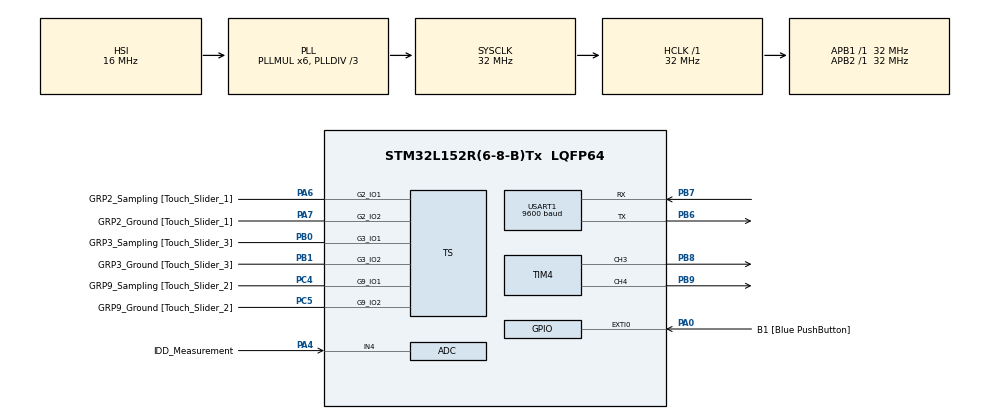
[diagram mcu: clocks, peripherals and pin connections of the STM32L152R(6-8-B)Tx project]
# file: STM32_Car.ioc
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ADC.Channel=ADC_CHANNEL_4
ADC.Channel-0\#ChannelRegularConversion=ADC_CHANNEL_4
ADC.Channel-IN4=ADC_CHANNEL_4
ADC.ExternalTrigConv=ADC_EXTERNALTRIGCONV_T2_CC3
ADC.ExternalTrigConv-0\#ChannelRegularConversion=ADC_SOFTWARE_START
ADC.ExternalTrigConvEdge=ADC_EXTERNALTRIGCONVEDGE_RISING
ADC.Rank-0\#ChannelRegularConversion=1
ADC.SamplingTime-0\#ChannelRegularConversion=ADC_SAMPLETIME_4CYCLES
Mcu.Family=STM32L1
Mcu.Name=STM32L152R(6-8-B)Tx
Mcu.Package=LQFP64
NVIC.PriorityGroup=NVIC_PRIORITYGROUP_0
NVIC.USART1_IRQn=true\:0\:0\:false\:false\:true\:true\:true\:true
PA0-WKUP1.GPIO_Label=B1 [Blue PushButton]
PA0-WKUP1.GPIO_ModeDefaultEXTI=GPIO_MODE_EVT_RISING
PA0-WKUP1.GPIO_PuPd=GPIO_NOPULL
PA0-WKUP1.Signal=GPXTI0
PA1.GPIO_Label=SEG0 [GH08172T_SEG0]
PA1.GPIO_Mode=GPIO_MODE_AF_PP
PA1.GPIO_PuPd=GPIO_NOPULL
PA1.GPIO_Speed=GPIO_SPEED_FREQ_LOW
PA1.Signal=LCD_SEG0
PA10.GPIO_Label=COM2 [GH08172T_COM2]
PA10.GPIO_Mode=GPIO_MODE_AF_PP
PA10.GPIO_PuPd=GPIO_NOPULL
PA10.GPIO_Speed=GPIO_SPEED_FREQ_LOW
PA10.Signal=LCD_COM2
PA13.GPIO_Label=SWDIO
PA13.Mode=Serial_Wire
PA13.Signal=SYS_JTMS-SWDIO
PA14.GPIO_Label=SWCLK
PA14.Mode=Serial_Wire
PA14.Signal=SYS_JTCK-SWCLK
PA15.GPIO_Label=SEG12 [GH08172T_SEG12]
PA15.GPIO_Mode=GPIO_MODE_AF_PP
PA15.GPIO_PuPd=GPIO_NOPULL
PA15.GPIO_Speed=GPIO_SPEED_FREQ_LOW
PA15.Signal=LCD_SEG17
PA2.GPIO_Label=SEG1 [GH08172T_SEG1]
PA2.GPIO_Mode=GPIO_MODE_AF_PP
PA2.GPIO_PuPd=GPIO_NOPULL
PA2.GPIO_Speed=GPIO_SPEED_FREQ_LOW
PA2.Signal=LCD_SEG1
PA3.GPIO_Label=SEG2 [GH08172T_SEG2]
PA3.GPIO_Mode=GPIO_MODE_AF_PP
PA3.GPIO_PuPd=GPIO_NOPULL
PA3.GPIO_Speed=GPIO_SPEED_FREQ_LOW
PA3.Signal=LCD_SEG2
PA4.GPIO_Label=IDD_Measurement
PA4.GPIO_Mode=GPIO_MODE_ANALOG
PA4.GPIO_PuPd=GPIO_NOPULL
PA4.Mode=IN4
PA4.Signal=ADC_IN4
PA6.GPIO_Label=GRP2_Sampling [Touch_Slider_1]
PA6.Mode=G2_IO1-Sampling
PA6.Signal=TS_G2_IO1
PA7.GPIO_Label=GRP2_Ground [Touch_Slider_1]
PA7.Mode=G2_IO2-Channel
PA7.Signal=TS_G2_IO2
PA8.GPIO_Label=COM0 [GH08172T_COM0]
PA8.GPIO_Mode=GPIO_MODE_AF_PP
PA8.GPIO_PuPd=GPIO_NOPULL
PA8.GPIO_Speed=GPIO_SPEED_FREQ_LOW
PA8.Signal=LCD_COM0
PA9.GPIO_Label=COM1 [GH08172T_COM1]
PA9.GPIO_Mode=GPIO_MODE_AF_PP
PA9.GPIO_PuPd=GPIO_NOPULL
PA9.GPIO_Speed=GPIO_SPEED_FREQ_LOW
PA9.Signal=LCD_COM1
PB0.GPIO_Label=GRP3_Sampling [Touch_Slider_3]
PB0.Mode=G3_IO1-Sampling
PB0.Signal=TS_G3_IO1
PB1.GPIO_Label=GRP3_Ground [Touch_Slider_3]
PB1.Mode=G3_IO2-Channel
PB1.Signal=TS_G3_IO2
PB10.GPIO_Label=SEG6 [GH08172T_SEG6]
PB10.GPIO_Mode=GPIO_MODE_AF_PP
PB10.GPIO_PuPd=GPIO_NOPULL
PB10.GPIO_Speed=GPIO_SPEED_FREQ_LOW
PB10.Signal=LCD_SEG10
PB11.GPIO_Label=SEG7 [GH08172T_SEG7]
PB11.GPIO_Mode=GPIO_MODE_AF_PP
PB11.GPIO_PuPd=GPIO_NOPULL
PB11.GPIO_Speed=GPIO_SPEED_FREQ_LOW
PB11.Signal=LCD_SEG11
PB12.GPIO_Label=SEG8 [GH08172T_SEG8]
PB12.GPIO_Mode=GPIO_MODE_AF_PP
PB12.GPIO_PuPd=GPIO_NOPULL
PB12.GPIO_Speed=GPIO_SPEED_FREQ_LOW
PB12.Signal=LCD_SEG12
PB13.GPIO_Label=SEG9 [GH08172T_SEG9]
PB13.GPIO_Mode=GPIO_MODE_AF_PP
PB13.GPIO_PuPd=GPIO_NOPULL
PB13.GPIO_Speed=GPIO_SPEED_FREQ_LOW
PB13.Signal=LCD_SEG13
PB14.GPIO_Label=SEG10 [GH08172T_SEG10]
PB14.GPIO_Mode=GPIO_MODE_AF_PP
PB14.GPIO_PuPd=GPIO_NOPULL
PB14.GPIO_Speed=GPIO_SPEED_FREQ_LOW
PB14.Signal=LCD_SEG14
PB15.GPIO_Label=SEG11 [GH08172T_SEG11]
PB15.GPIO_Mode=GPIO_MODE_AF_PP
PB15.GPIO_PuPd=GPIO_NOPULL
PB15.GPIO_Speed=GPIO_SPEED_FREQ_LOW
PB15.Signal=LCD_SEG15
PB3.GPIO_Label=SEG3 [GH08172T_SEG3]
PB3.GPIO_Mode=GPIO_MODE_AF_PP
PB3.GPIO_PuPd=GPIO_NOPULL
PB3.GPIO_Speed=GPIO_SPEED_FREQ_LOW
PB3.Signal=LCD_SEG7
PB4.GPIO_Label=SEG4 [GH08172T_SEG4]
PB4.GPIO_Mode=GPIO_MODE_AF_PP
PB4.GPIO_PuPd=GPIO_NOPULL
PB4.GPIO_Speed=GPIO_SPEED_FREQ_LOW
PB4.Signal=LCD_SEG8
PB5.GPIO_Label=SEG5 [GH08172T_SEG5]
PB5.GPIO_Mode=GPIO_MODE_AF_PP
PB5.GPIO_PuPd=GPIO_NOPULL
PB5.GPIO_Speed=GPIO_SPEED_FREQ_LOW
PB5.Signal=LCD_SEG9
PB6.Mode=Asynchronous
PB6.Signal=USART1_TX
PB7.Mode=Asynchronous
PB7.Signal=USART1_RX
PB8.Signal=S_TIM4_CH3
PB9.Signal=S_TIM4_CH4
PC0.GPIO_Label=SEG14 [GH08172T_SEG14]
PC0.GPIO_Mode=GPIO_MODE_AF_PP
PC0.GPIO_PuPd=GPIO_NOPULL
PC0.GPIO_Speed=GPIO_SPEED_FREQ_LOW
PC0.Signal=LCD_SEG18
PC1.GPIO_Label=SEG15 [GH08172T_SEG15]
PC1.GPIO_Mode=GPIO_MODE_AF_PP
PC1.GPIO_PuPd=GPIO_NOPULL
PC1.GPIO_Speed=GPIO_SPEED_FREQ_LOW
PC1.Signal=LCD_SEG19
PC10.GPIO_Label=SEG22 [GH08172T_SEG22]
PC10.GPIO_Mode=GPIO_MODE_AF_PP
PC10.GPIO_PuPd=GPIO_NOPULL
PC10.GPIO_Speed=GPIO_SPEED_FREQ_LOW
PC10.Signal=LCD_SEG28
PC11.GPIO_Label=SEG23 [GH08172T_SEG23]
PC11.GPIO_Mode=GPIO_MODE_AF_PP
PC11.GPIO_PuPd=GPIO_NOPULL
PC11.GPIO_Speed=GPIO_SPEED_FREQ_LOW
PC11.Signal=LCD_SEG29
PC14-OSC32_IN.GPIO_Label=PC14-OSC32_IN
PC14-OSC32_IN.Mode=LSE-External-Oscillator
PC14-OSC32_IN.Signal=RCC_OSC32_IN
PC15-OSC32_OUT.GPIO_Label=PC15-OSC32_OUT
PC15-OSC32_OUT.Mode=LSE-External-Oscillator
PC15-OSC32_OUT.Signal=RCC_OSC32_OUT
PC2.GPIO_Label=SEG16 [GH08172T_SEG16]
PC2.GPIO_Mode=GPIO_MODE_AF_PP
PC2.GPIO_PuPd=GPIO_NOPULL
PC2.GPIO_Speed=GPIO_SPEED_FREQ_LOW
PC2.Signal=LCD_SEG20
PC3.GPIO_Label=SEG17 [GH08172T_SEG17]
PC3.GPIO_Mode=GPIO_MODE_AF_PP
PC3.GPIO_PuPd=GPIO_NOPULL
PC3.GPIO_Speed=GPIO_SPEED_FREQ_LOW
PC3.Signal=LCD_SEG21
PC4.GPIO_Label=GRP9_Sampling [Touch_Slider_2]
PC4.Mode=G9_IO1-Sampling
PC4.Signal=TS_G9_IO1
PC5.GPIO_Label=GRP9_Ground [Touch_Slider_2]
PC5.Mode=G9_IO2-Channel
PC5.Signal=TS_G9_IO2
PC6.GPIO_Label=SEG18 [GH08172T_SEG18]
PC6.GPIO_Mode=GPIO_MODE_AF_PP
PC6.GPIO_PuPd=GPIO_NOPULL
PC6.GPIO_Speed=GPIO_SPEED_FREQ_LOW
PC6.Signal=LCD_SEG24
PC7.GPIO_Label=SEG19 [GH08172T_SEG19]
PC7.GPIO_Mode=GPIO_MODE_AF_PP
PC7.GPIO_PuPd=GPIO_NOPULL
PC7.GPIO_Speed=GPIO_SPEED_FREQ_LOW
PC7.Signal=LCD_SEG25
PC8.GPIO_Label=SEG20 [GH08172T_SEG20]
PC8.GPIO_Mode=GPIO_MODE_AF_PP
PC8.GPIO_PuPd=GPIO_NOPULL
PC8.GPIO_Speed=GPIO_SPEED_FREQ_LOW
PC8.Signal=LCD_SEG26
PC9.GPIO_Label=SEG21 [GH08172T_SEG21]
PC9.GPIO_Mode=GPIO_MODE_AF_PP
PC9.GPIO_PuPd=GPIO_NOPULL
PC9.GPIO_Speed=GPIO_SPEED_FREQ_LOW
PC9.Signal=LCD_SEG27
ProjectManager.HeapSize=0x200
ProjectManager.StackSize=0x400
ProjectManager.TargetToolchain=STM32CubeIDE
RCC.48MHZClocksFreq_Value=48000000
RCC.AHBFreq_Value=32000000
RCC.APB1Freq_Value=32000000
RCC.APB1TimFreq_Value=32000000
RCC.APB2Freq_Value=32000000
RCC.APB2TimFreq_Value=32000000
RCC.HCLKFreq_Value=32000000
RCC.HSE_VALUE=8000000
RCC.HSI_VALUE=16000000
RCC.MSI_VALUE=2097000
RCC.PLLDIV=RCC_PLL_DIV3
RCC.PLLMUL=RCC_PLL_MUL6
RCC.RTCClockSelectionVirtual=RCC_RTCCLKSOURCE_LSE
RCC.SYSCLKFreq_VALUE=32000000
RCC.SYSCLKSource=RCC_SYSCLKSOURCE_PLLCLK
RCC.USBOutput=48000000
RCC.VCOOutputFreq_Value=96000000
SH.S_TIM4_CH3.0=TIM4_CH3,PWM Generation3 CH3
SH.S_TIM4_CH4.0=TIM4_CH4,PWM Generation4 CH4
TIM4.Channel-PWM\ Generation3\ CH3=TIM_CHANNEL_3
TIM4.Channel-PWM\ Generation4\ CH4=TIM_CHANNEL_4
USART1.BaudRate=9600
USART1.VirtualMode=VM_ASYNC
VP_TIM2_VS_ClockSourceINT.Mode=Internal
VP_TIM3_VS_ClockSourceINT.Mode=Internal
VP_TIM4_VS_ClockSourceINT.Mode=Internal
board=STM32L-DISCOVERY

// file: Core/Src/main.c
// Bluetooth-controlled and autonomous car project

/* USER CODE BEGIN Header */
/**
 **********
 * @file           : main.c
 * @brief          : Main program body
 **********
 * @attention
 *
 * Copyright (c) 2023 STMicroelectronics.
 * All rights reserved.
 *
 * This software is licensed under terms that can be found in the LICENSE file
 * in the root directory of this software component.
 * If no LICENSE file comes with this software, it is provided AS-IS.
 *
 **********
 */
/* USER CODE END Header */
#include "main.h"

ADC_HandleTypeDef hadc;

TIM_HandleTypeDef htim2;
TIM_HandleTypeDef htim3;
TIM_HandleTypeDef htim4;

UART_HandleTypeDef huart1;

/* USER CODE BEGIN PV */
int GIRO = 600;
unsigned char pulsacion = 0;
unsigned short tiempo_inicio = 0;
unsigned short tiempo = 0;
int estado = 0;
unsigned short tiempo_2 = 6000;
unsigned short tiempo_3 = 50000;
int estado_2 = 0;
int estado_3 = 0;
int limite = 0;
int espera = 0;
short salta = 0;
int vel = 0;
int DCmax = 0;
int DCmin = 0;
int DCmed = 0;
int estado_4 = 6;
int XD = 0;
uint8_t num_received = '1';
uint8_t text_STOP[7] = " STOP";
uint8_t text_FORWARD[10] = " FORWARD";
uint8_t text_LEFT[7] = " LEFT";
uint8_t text_RIGHT[7] = " RIGHT";
uint8_t text_BACK[7] = " BACK";
uint8_t text_AUTO[7] = " AUTO";
/* USER CODE END PV */

void SystemClock_Config(void);
static void MX_GPIO_Init(void);
static void MX_ADC_Init(void);
static void MX_TS_Init(void);
static void MX_USART1_UART_Init(void);
static void MX_TIM2_Init(void);
static void MX_TIM3_Init(void);
static void MX_TIM4_Init(void);

/* USER CODE BEGIN 0 */
void delante() {
	TIM4->CCR3 = DCmax;
	TIM4->CCR4 = DCmax;
	GPIOA->BSRR = (1 << 12 << 16);
	GPIOA->BSRR = (1 << 11 << 16);
}

void atras() {
	TIM4->CCR3 = DCmin;
	TIM4->CCR4 = DCmin;
	GPIOA->BSRR = (1 << 12);
	GPIOA->BSRR = (1 << 11);
}

void giro_derechaA() {
	GPIOA->BSRR = (1 << 11);
	TIM4->CCR4 = 0;
	TIM4->CCR3 = DCmin;
}

void giro_derechaB() {
	GPIOA->BSRR = (1 << 11 << 16);
	TIM4->CCR4 = 0;
	TIM4->CCR3 = DCmax;
}

void giro_izquierdaA() {
	GPIOA->BSRR = (1 << 12);
	TIM4->CCR4 = DCmin;
	TIM4->CCR3 = 0;
}

void giro_izquierdaB() {
	GPIOA->BSRR = (1 << 12 << 16);
	TIM4->CCR4 = DCmax;
	TIM4->CCR3 = 0;
}

void deceleroA() {
	GPIOA->BSRR = (1 << 12 << 16);
	GPIOA->BSRR = (1 << 11 << 16);
	TIM4->CCR3 = DCmin;
	TIM4->CCR4 = DCmin;
}

void parar() {
	GPIOA->BSRR = (1 << 12 << 16);
	GPIOA->BSRR = (1 << 11 << 16);
	TIM4->CCR3 = 0;
	TIM4->CCR4 = 0;
}

void TIM3_IRQHandler(void)       // TIM3 interrupt handler
{
	if ((TIM3->SR & 0x0004) != 0)   // TIM3 channel 2 interrupt
			{

		if (estado_2 == 1) {
			estado_2 = 0;

			TIM3->CCR2 += tiempo_2;
		} else {
			estado_2 = 1;
			TIM3->CCR2 += 1;
		} // This timer sends a 10 us ultrasonic trigger pulse, then waits
		  // 60 ms before sending the next pulse.
		TIM3->SR = 0x0000;         // Clear the timer flags
	}
	if ((TIM3->SR & 0x0002) != 0) // TIM3 channel 1 event
			{

		if (estado_3 == 1) {
			estado_3 = 0;

			TIM3->CCR1 += tiempo_3;
		} else {
			estado_3 = 1;
			TIM3->CCR1 += tiempo_3;
		}       // Register that stores the next compare value
		// Schedule the next timing event.
		TIM3->SR = 0x0000;         // Clear the timer flags
	}

	if ((TIM3->SR & 0x0008) != 0) { // TIM3 channel 3 event

		TIM3->CCR3 += 256;         // 2.56 ms output-compare interval
		// Used to implement non-blocking delays.
		if (limite != 0) {
			espera++;
		}

		TIM3->SR = 0x0000;         // Clear the timer flags

	}
}

void TIM2_IRQHandler(void) {
	if ((TIM2->SR & 0x0002) != 0) {        //Si ha ocurrido el evento en ch1 TIC
		if (pulsacion == 1) { //
			pulsacion = 0;
			tiempo = TIM2->CCR1 - tiempo_inicio;
			tiempo_inicio = TIM2->CCR1; //
			if (tiempo < 0)
				tiempo += 0x0FFFF; //
			TIM2->CCER = (0x0003);
		} else if (pulsacion == 0) { //
			pulsacion = 1;
			tiempo = TIM2->CCR1 - tiempo_inicio; //
			if (tiempo < 0)
				tiempo += 0x0FFFF; //
			TIM2->CCER = (0x0001); //
		}
		//
		TIM2->SR = 0x0000; //
	}
}
/* USER CODE END 0 */

int main(void) {

	/* MCU Configuration--------------------------------------------------------*/

	/* Reset of all peripherals, Initializes the Flash interface and the Systick. */
	HAL_Init();

	/* Configure the system clock */
	SystemClock_Config();

	/* Initialize all configured peripherals */
	MX_GPIO_Init();
	MX_ADC_Init();
	MX_TS_Init();
	MX_USART1_UART_Init();
	MX_TIM2_Init();
	MX_TIM3_Init();
	MX_TIM4_Init();
	/* USER CODE BEGIN 2 */
	HAL_UART_Receive_IT(&huart1, &num_received, 1);
	GPIOB->MODER &= ~(1 << (10 * 2 + 1));
	GPIOB->MODER |= (1 << (10 * 2));
	/*GPIOB -> MODER &= ~(1 << (8*2 + 1));        // input 1
	 GPIOB -> MODER |= (1 << (8*2)); */
	GPIOA->MODER &= ~(1 << (11 * 2 + 1));        // input 2
	GPIOA->MODER |= (1 << (11 * 2));
	/*GPIOB -> MODER &= ~(1 << (9*2 +1));         // input 3
	 GPIOB -> MODER |= (1 << (9*2));*/
	GPIOA->MODER &= ~(1 << (12 * 2 + 1));       // input 4
	GPIOA->MODER |= (1 << (12 * 2));

	GPIOA->MODER &= ~(1 << (1 * 2 + 1));
	GPIOA->MODER |= (1 << (1 * 2));

	GPIOB->MODER |= (1 << (8 * 2 + 1));
	GPIOB->MODER &= ~(1 << (8 * 2));

	//IN3(PB9)->AF
	GPIOB->MODER |= (1 << (9 * 2 + 1));
	GPIOB->MODER &= ~(1 << (9 * 2));

	//AFR for PB8 AND PB9(TIM4 CH3 AND CH4)
	GPIOB->AFR[1] = 0x00000022;

	// Internal clock selection: CR1, CR2, and SMCR
	TIM4->CR1 = 0x0080;      // ARPE configured; CEN = 0; counter disabled
	TIM4->CR2 = 0x0000;      // Channel interrupts disabled
	TIM4->SMCR = 0x0000;      // Siempre "0" en este curso

	// Counter configuration: PSC, CNT, ARR, and CCRx
	TIM4->PSC = 319;      // Prescaler: 32 MHz / 320 = 100,000 counts/s
	TIM4->CNT = 0;        // Initialize the counter to zero
	TIM4->ARR = 99;       // PWM auto-reload value

	// Interrupt selection: DIER
	TIM4->DIER = 0x0000;    // No timer interrupt is required for PWM

	TIM4->CCR3 = 50;        // El Duty cycle se pone a 1 inicialmente
	TIM4->CCR4 = 50;        // El Duty cycle se pone a 1 inicialmente

	// Timer output mode
	TIM4->CCMR2 = 0x6868;
	TIM4->CCER = 0x1100;   // CCyNP:CCyP = 00 (activo a flanco de subida)
						   // CCyE = 1: channel output enabled

	// Enable the counter and clear pending flags
	TIM4->EGR |= 0x0001;   // UG = 1: generate an update event
	TIM4->SR = 0;          // Clear timer flags
	TIM4->CR1 |= 0x0001;   // CEN = 1: start the counter

	TIM3->CR1 = 0x0000;  // Output-compare timer; counter initially disabled
	TIM3->CR2 = 0x0000;
	TIM3->SMCR = 0x0000;

	// Counter configuration: PSC, CNT, ARR, and CCRx
	TIM3->PSC = 319;     // Prescaler: 32 MHz / 320 = 100,000 counts/s
	TIM3->CNT = 0;       // Initialize the counter to zero
	TIM3->ARR = 0xFFFF;  // Full 16-bit timer range
	TIM3->CCR2 = tiempo_2;    // Initial output-compare value
	TIM3->CCR1 = tiempo_3;
	TIM3->CCR3 = 256;

	// Initialize each channel with its first compare target.

	// Enable compare interrupts for channels 1 through 3
	TIM3->DIER = 0x000E;

	// Timer output mode
	TIM3->CCMR1 = 0x0000;  // CCyS = 0 (TOC)
	TIM3->CCMR2 = 0x0000;

	// OCyPE = 0 (sin precarga)
	TIM3->CCER = 0x0000;   // CCyP = 0 (siempre para TOC)
						   // CCyE = 0: hardware output disabled

	// Enable the counter and clear pending flags
	TIM3->EGR |= 0x0001;   // UG = 1: generate an update event
	TIM3->SR = 0;          // Clear timer flags
	TIM3->CR1 |= 0x0001;   // CEN = 1: start the counter

	GPIOA->MODER |= 0x00000001 << (2 * 5 + 1); // MODER = 10 (AF) para el bit 0 del
	// puerto A
	GPIOA->MODER &= ~(0x00000001 << (2 * 5));
	GPIOA->AFR[0] |= (0x01 << (5 * 4));      // AFR para decir que el P0A es AF1
	// (TIM2)
	GPIOA->AFR[0] &= ~(0x0E << (5 * 4));
	// Internal clock selection: CR1, CR2, and SMCR
	TIM2->CR1 = 0x0000;      // Input-capture timer; counter initially disabled
	TIM2->CR2 = 0x0000;      // Channel interrupts configured through DIER
	TIM2->SMCR = 0x0000;

	// Counter configuration: PSC, CNT, ARR, and CCRx
	TIM2->PSC = 319;      // Prescaler: 32 MHz / 320 = 100,000 counts/s
	TIM2->CNT = 0;        // Initialize the counter to zero
	TIM2->ARR = 0xFFFF;   // Full 16-bit timer range

	// Enable the channel 1 capture interrupt
	TIM2->DIER = 0x0002;

	// Input-capture mode
	TIM2->CCMR1 = 0x0001;  // CCyS = 1: channel configured as input
	TIM2->CCER = 0x0001;   // CCyNP:CCyP = 00 (activo a flanco de subida)
						   // CCyE = 1: input capture enabled

	// Enable the counter and clear pending flags
	TIM2->EGR |= 0x0001;   // UG = 1: generate an update event
	TIM2->SR = 0;          // Clear timer flags
	TIM2->CR1 |= 0x0001;   // CEN = 1: start the counter

	TIM4->CCER |= (0x01 << 4);
	TIM4->CR1 |= 0x01;

	GPIOA->MODER |= 0x00000300;        // Configure PA4 as analog input
	ADC1->CR2 &= ~(0x00000001);        // ADON = 0: ADC disabled
	ADC1->CR1 = 0x00000000;            // RES = 00 (resolución = 12 bits)
									   // SCAN = 0: scan mode disabled
	// EOC interrupt disabled
	ADC1->CR2 = 0x00000400;           // EOCS = 1 (activado el bit EOC al acabar
	// each conversion)
	// DELS = 000 (sin retardo en la
	// conversion)
	// CONT = 0: single conversion
	ADC1->SMPR1 = 0;                   // Sin sampling time (4 cycles)
	ADC1->SMPR2 = 0;
	ADC1->SMPR3 = 0;
	ADC1->SQR1 = 0x00000000;           // 1 elemento solo en la secuencia
	ADC1->SQR5 = 0x00000004;           // Select analog input channel 4
	ADC1->CR2 |= 0x00000001;           // ADON = 1 (ADC activado)

	NVIC->ISER[0] |= (1 << 28);  // Enable the TIM2 IRQ in the NVIC
	NVIC->ISER[0] |= (1 << 29);
	NVIC->ISER[0] |= (1 << 30);
	/* USER CODE END 2 */

	/* Infinite loop */
	/* USER CODE BEGIN WHILE */
	while (1) {
		switch (num_received) {  // Process commands received over USART
		case '1': // STOP
			estado_4 = 0;
			estado = 0;
			for (int i = 0; i < 5; i++) {
				HAL_UART_Transmit(&huart1, (&text_STOP[i]), 1, 10000);
			}
			num_received = ' ';

			break;
		case '2': // FORWARD
			estado_4 = 1;
			estado = 0;
			for (int i = 0; i < 8; i++) {
				HAL_UART_Transmit(&huart1, (&text_FORWARD[i]), 1, 10000);
			}
			num_received = ' ';

			break;
		case '3': // BACK
			estado_4 = 5;
			estado = 0;
			for (int i = 0; i < 5; i++) {
				HAL_UART_Transmit(&huart1, (&text_BACK[i]), 1, 10000);
			}
			num_received = ' ';

			break;
		case '4': // LEFT
			estado_4 = 4;
			estado = 0;
			for (int i = 0; i < 5; i++) {
				HAL_UART_Transmit(&huart1, (&text_LEFT[i]), 1, 10000);
			}
			num_received = ' ';
			XD = 0;
			break;
		case '5': // RIGHT
			for (int i = 0; i < 6; i++) {
				HAL_UART_Transmit(&huart1, (&text_RIGHT[i]), 1, 10000);
			}
			num_received = ' ';
			estado_4 = 3;
			estado = 0;
			XD = 0;
			break;
		case '6': // AUTONOMOUS
			estado_4 = 6;
			for (int i = 0; i < 5; i++) {
				HAL_UART_Transmit(&huart1, (&text_AUTO[i]), 1, 10000);
			}
			num_received = ' ';
			break;
		}

		if (vel < 2048) {		//ADC
			DCmax = 80;
			DCmin = 40;
			DCmed = 60;
		} else {
			DCmax = 50;
			DCmin = 60;
			DCmed = 25;
		}

		if ((ADC1->SR & 0x0040) != 0)    // Start a conversion when the ADC is ready

			ADC1->CR2 |= 0x40000000;         // Set SWSTART to begin conversion

		// Wait for the conversion to finish
		if ((ADC1->SR & 0x0002) == 0)
			;    // EOC = 0: conversion is still in progress

		vel = ADC1->DR;

		if (tiempo < 70) {     // Continuous buzzer warning at close range
			GPIOA->BSRR = (1 << 1);

		} else if (tiempo < 150 && tiempo >= 70) {
			if (estado_3 == 0) {
				GPIOA->BSRR = (1 << 1);

			} else {
				GPIOA->BSRR = (1 << 1 << 16);
			}

		} else {
			GPIOA->BSRR = (1 << 1 << 16);
		}

		if (estado_2 == 1) {     // Generate the ultrasonic trigger pulse
			GPIOB->BSRR = (1 << (10));
		} else {
			GPIOB->BSRR = (1 << (10) << 16);
		}

		switch (estado_4) { // Execute the action selected by the USART command
		case 0: //stop
			parar();
			break;
		case 1: // move forward
			if (tiempo < 70) {
				parar();
			} else {
				delante();
			}
			break;
		case 2: // decelerate
			deceleroA();
			break;
		case 3: // turn right
			if (XD == 0) {
				parar();
				XD++;
			}
			giro_derechaB();

			break;
		case 4: // turn left
			if (XD == 0) {
				parar();
				XD++;
			}
			giro_izquierdaB();
			break;
		case 5: // reverse
			atras();
			break;
		default:

			switch (estado) {
			case 0: // move forward while the path is clear
				delante();
				if (tiempo < 150)
					estado = 1;
				break;
			case 1: // decelerate when an obstacle is detected
				deceleroA();
				if (tiempo < 70) {
					estado = 2;
					espera = 0;
				} else if (tiempo > 150)
					estado = 0;

				break;
			case 2: // stop before changing direction
				parar();
				limite = 3 * GIRO;
				if (espera > limite) {
					espera = 0;
					limite = 0;
					estado = 3;
				} else {
					break;
				}

				break;
			case 3: // begin the right-turn avoidance maneuver
				giro_derechaA();
				limite = GIRO;
				if (espera > limite) {
					espera = 0;
					limite = 0;
					parar();
					if (tiempo <= 150)
						estado = 4;
					else
						estado = 0;
				} else {
					break;
				}

			case 4: // continue the right-turn maneuver
				giro_derechaB();
				limite = GIRO;
				if (espera > limite) {
					espera = 0;
					limite = 0;
					estado = 5;
				} else {
					break;
				}

				break;
			case 5: // begin the left-turn avoidance maneuver
				giro_izquierdaA();
				limite = GIRO;
				if (espera > limite) {
					espera = 0;
					limite = 0;
				} else {
					break;
				}
				parar();
				if (tiempo <= 150)
					estado = 6;
				else
					estado = 0;
				break;
			case 6: // continue the left-turn maneuver

				giro_izquierdaB();
				limite = GIRO;
				if (espera > limite) {
					espera = 0;
					limite = 0;
				} else {
					break;
				}
				estado = 7;
				break;
			case 7: // reverse to complete the avoidance sequence
				//GPIOB->BSRR = ((1<<9));
				atras();
				limite = GIRO;
				if (espera > limite) {
					espera = 0;
					limite = 0;
				} else {
					break;
				}
				parar();
				break;

			default: // fail-safe stop
				parar();

			}
			break;

		}
	}
	/* USER CODE END WHILE */

}

void SystemClock_Config(void) {
	RCC_OscInitTypeDef RCC_OscInitStruct = { 0 };
	RCC_ClkInitTypeDef RCC_ClkInitStruct = { 0 };

	/** Configure the main internal regulator output voltage
	 */
	__HAL_PWR_VOLTAGESCALING_CONFIG(PWR_REGULATOR_VOLTAGE_SCALE1);

	/** Initializes the RCC Oscillators according to the specified parameters
	 * in the RCC_OscInitTypeDef structure.
	 */
	RCC_OscInitStruct.OscillatorType = RCC_OSCILLATORTYPE_HSI;
	RCC_OscInitStruct.HSIState = RCC_HSI_ON;
	RCC_OscInitStruct.HSICalibrationValue = RCC_HSICALIBRATION_DEFAULT;
	RCC_OscInitStruct.PLL.PLLState = RCC_PLL_ON;
	RCC_OscInitStruct.PLL.PLLSource = RCC_PLLSOURCE_HSI;
	RCC_OscInitStruct.PLL.PLLMUL = RCC_PLL_MUL6;
	RCC_OscInitStruct.PLL.PLLDIV = RCC_PLL_DIV3;
	if (HAL_RCC_OscConfig(&RCC_OscInitStruct) != HAL_OK) {
		Error_Handler();
	}

	/** Initializes the CPU, AHB and APB buses clocks
	 */
	RCC_ClkInitStruct.ClockType = RCC_CLOCKTYPE_HCLK | RCC_CLOCKTYPE_SYSCLK
			| RCC_CLOCKTYPE_PCLK1 | RCC_CLOCKTYPE_PCLK2;
	RCC_ClkInitStruct.SYSCLKSource = RCC_SYSCLKSOURCE_PLLCLK;
	RCC_ClkInitStruct.AHBCLKDivider = RCC_SYSCLK_DIV1;
	RCC_ClkInitStruct.APB1CLKDivider = RCC_HCLK_DIV1;
	RCC_ClkInitStruct.APB2CLKDivider = RCC_HCLK_DIV1;

	if (HAL_RCC_ClockConfig(&RCC_ClkInitStruct, FLASH_LATENCY_1) != HAL_OK) {
		Error_Handler();
	}
}

static void MX_ADC_Init(void) {

	ADC_ChannelConfTypeDef sConfig = { 0 };

	/** Configure the global features of the ADC (Clock, Resolution, Data Alignment and number of conversion)
	 */
	hadc.Instance = ADC1;
	hadc.Init.ClockPrescaler = ADC_CLOCK_ASYNC_DIV1;
	hadc.Init.Resolution = ADC_RESOLUTION_12B;
	hadc.Init.DataAlign = ADC_DATAALIGN_RIGHT;
	hadc.Init.ScanConvMode = ADC_SCAN_DISABLE;
	hadc.Init.EOCSelection = ADC_EOC_SEQ_CONV;
	hadc.Init.LowPowerAutoWait = ADC_AUTOWAIT_DISABLE;
	hadc.Init.LowPowerAutoPowerOff = ADC_AUTOPOWEROFF_DISABLE;
	hadc.Init.ChannelsBank = ADC_CHANNELS_BANK_A;
	hadc.Init.ContinuousConvMode = DISABLE;
	hadc.Init.NbrOfConversion = 1;
	hadc.Init.DiscontinuousConvMode = DISABLE;
	hadc.Init.ExternalTrigConv = ADC_EXTERNALTRIGCONV_T2_CC3;
	hadc.Init.ExternalTrigConvEdge = ADC_EXTERNALTRIGCONVEDGE_RISING;
	hadc.Init.DMAContinuousRequests = DISABLE;
	if (HAL_ADC_Init(&hadc) != HAL_OK) {
		Error_Handler();
	}

	/** Configure for the selected ADC regular channel its corresponding rank in the sequencer and its sample time.
	 */
	sConfig.Channel = ADC_CHANNEL_4;
	sConfig.Rank = ADC_REGULAR_RANK_1;
	sConfig.SamplingTime = ADC_SAMPLETIME_4CYCLES;
	if (HAL_ADC_ConfigChannel(&hadc, &sConfig) != HAL_OK) {
		Error_Handler();
	}

}

static void MX_TIM2_Init(void) {

	TIM_ClockConfigTypeDef sClockSourceConfig = { 0 };
	TIM_MasterConfigTypeDef sMasterConfig = { 0 };

	htim2.Instance = TIM2;
	htim2.Init.Prescaler = 0;
	htim2.Init.CounterMode = TIM_COUNTERMODE_UP;
	htim2.Init.Period = 65535;
	htim2.Init.ClockDivision = TIM_CLOCKDIVISION_DIV1;
	htim2.Init.AutoReloadPreload = TIM_AUTORELOAD_PRELOAD_DISABLE;
	if (HAL_TIM_Base_Init(&htim2) != HAL_OK) {
		Error_Handler();
	}
	sClockSourceConfig.ClockSource = TIM_CLOCKSOURCE_INTERNAL;
	if (HAL_TIM_ConfigClockSource(&htim2, &sClockSourceConfig) != HAL_OK) {
		Error_Handler();
	}
	sMasterConfig.MasterOutputTrigger = TIM_TRGO_RESET;
	sMasterConfig.MasterSlaveMode = TIM_MASTERSLAVEMODE_DISABLE;
	if (HAL_TIMEx_MasterConfigSynchronization(&htim2, &sMasterConfig)
			!= HAL_OK) {
		Error_Handler();
	}

}

static void MX_TIM3_Init(void) {

	TIM_ClockConfigTypeDef sClockSourceConfig = { 0 };
	TIM_MasterConfigTypeDef sMasterConfig = { 0 };

	htim3.Instance = TIM3;
	htim3.Init.Prescaler = 0;
	htim3.Init.CounterMode = TIM_COUNTERMODE_UP;
	htim3.Init.Period = 65535;
	htim3.Init.ClockDivision = TIM_CLOCKDIVISION_DIV1;
	htim3.Init.AutoReloadPreload = TIM_AUTORELOAD_PRELOAD_DISABLE;
	if (HAL_TIM_Base_Init(&htim3) != HAL_OK) {
		Error_Handler();
	}
	sClockSourceConfig.ClockSource = TIM_CLOCKSOURCE_INTERNAL;
	if (HAL_TIM_ConfigClockSource(&htim3, &sClockSourceConfig) != HAL_OK) {
		Error_Handler();
	}
	sMasterConfig.MasterOutputTrigger = TIM_TRGO_RESET;
	sMasterConfig.MasterSlaveMode = TIM_MASTERSLAVEMODE_DISABLE;
	if (HAL_TIMEx_MasterConfigSynchronization(&htim3, &sMasterConfig)
			!= HAL_OK) {
		Error_Handler();
	}

}

static void MX_TIM4_Init(void) {

	TIM_ClockConfigTypeDef sClockSourceConfig = { 0 };
	TIM_MasterConfigTypeDef sMasterConfig = { 0 };
	TIM_OC_InitTypeDef sConfigOC = { 0 };

	htim4.Instance = TIM4;
	htim4.Init.Prescaler = 0;
	htim4.Init.CounterMode = TIM_COUNTERMODE_UP;
	htim4.Init.Period = 65535;
	htim4.Init.ClockDivision = TIM_CLOCKDIVISION_DIV1;
	htim4.Init.AutoReloadPreload = TIM_AUTORELOAD_PRELOAD_DISABLE;
	if (HAL_TIM_Base_Init(&htim4) != HAL_OK) {
		Error_Handler();
	}
	sClockSourceConfig.ClockSource = TIM_CLOCKSOURCE_INTERNAL;
	if (HAL_TIM_ConfigClockSource(&htim4, &sClockSourceConfig) != HAL_OK) {
		Error_Handler();
	}
	if (HAL_TIM_PWM_Init(&htim4) != HAL_OK) {
		Error_Handler();
	}
	sMasterConfig.MasterOutputTrigger = TIM_TRGO_RESET;
	sMasterConfig.MasterSlaveMode = TIM_MASTERSLAVEMODE_DISABLE;
	if (HAL_TIMEx_MasterConfigSynchronization(&htim4, &sMasterConfig)
			!= HAL_OK) {
		Error_Handler();
	}
	sConfigOC.OCMode = TIM_OCMODE_PWM1;
	sConfigOC.Pulse = 0;
	sConfigOC.OCPolarity = TIM_OCPOLARITY_HIGH;
	sConfigOC.OCFastMode = TIM_OCFAST_DISABLE;
	if (HAL_TIM_PWM_ConfigChannel(&htim4, &sConfigOC, TIM_CHANNEL_3)
			!= HAL_OK) {
		Error_Handler();
	}
	if (HAL_TIM_PWM_ConfigChannel(&htim4, &sConfigOC, TIM_CHANNEL_4)
			!= HAL_OK) {
		Error_Handler();
	}
	HAL_TIM_MspPostInit(&htim4);

}

static void MX_TS_Init(void) {

}

static void MX_USART1_UART_Init(void) {

	huart1.Instance = USART1;
	huart1.Init.BaudRate = 9600;
	huart1.Init.WordLength = UART_WORDLENGTH_8B;
	huart1.Init.StopBits = UART_STOPBITS_1;
	huart1.Init.Parity = UART_PARITY_NONE;
	huart1.Init.Mode = UART_MODE_TX_RX;
	huart1.Init.HwFlowCtl = UART_HWCONTROL_NONE;
	huart1.Init.OverSampling = UART_OVERSAMPLING_16;
	if (HAL_UART_Init(&huart1) != HAL_OK) {
		Error_Handler();
	}

}

static void MX_GPIO_Init(void) {
	GPIO_InitTypeDef GPIO_InitStruct = { 0 };

	/* GPIO Ports Clock Enable */
	__HAL_RCC_GPIOC_CLK_ENABLE();
	__HAL_RCC_GPIOA_CLK_ENABLE();
	__HAL_RCC_GPIOB_CLK_ENABLE();

	/*Configure GPIO pins : SEG14_Pin SEG15_Pin SEG16_Pin SEG17_Pin
	 SEG18_Pin SEG19_Pin SEG20_Pin SEG21_Pin
	 SEG22_Pin SEG23_Pin */
	GPIO_InitStruct.Pin = SEG14_Pin | SEG15_Pin | SEG16_Pin | SEG17_Pin
			| SEG18_Pin | SEG19_Pin | SEG20_Pin | SEG21_Pin | SEG22_Pin
			| SEG23_Pin;
	GPIO_InitStruct.Mode = GPIO_MODE_AF_PP;
	GPIO_InitStruct.Pull = GPIO_NOPULL;
	GPIO_InitStruct.Speed = GPIO_SPEED_FREQ_LOW;
	GPIO_InitStruct.Alternate = GPIO_AF11_LCD;
	HAL_GPIO_Init(GPIOC, &GPIO_InitStruct);

	/*Configure GPIO pin : B1_Pin */
	GPIO_InitStruct.Pin = B1_Pin;
	GPIO_InitStruct.Mode = GPIO_MODE_EVT_RISING;
	GPIO_InitStruct.Pull = GPIO_NOPULL;
	HAL_GPIO_Init(B1_GPIO_Port, &GPIO_InitStruct);

	/*Configure GPIO pins : SEG0_Pin SEG1_Pin SEG2_Pin COM0_Pin
	 COM1_Pin COM2_Pin SEG12_Pin */
	GPIO_InitStruct.Pin = SEG0_Pin | SEG1_Pin | SEG2_Pin | COM0_Pin | COM1_Pin
			| COM2_Pin | SEG12_Pin;
	GPIO_InitStruct.Mode = GPIO_MODE_AF_PP;
	GPIO_InitStruct.Pull = GPIO_NOPULL;
	GPIO_InitStruct.Speed = GPIO_SPEED_FREQ_LOW;
	GPIO_InitStruct.Alternate = GPIO_AF11_LCD;
	HAL_GPIO_Init(GPIOA, &GPIO_InitStruct);

	/*Configure GPIO pins : SEG6_Pin SEG7_Pin SEG8_Pin SEG9_Pin
	 SEG10_Pin SEG11_Pin SEG3_Pin SEG4_Pin
	 SEG5_Pin */
	GPIO_InitStruct.Pin = SEG6_Pin | SEG7_Pin | SEG8_Pin | SEG9_Pin | SEG10_Pin
			| SEG11_Pin | SEG3_Pin | SEG4_Pin | SEG5_Pin;
	GPIO_InitStruct.Mode = GPIO_MODE_AF_PP;
	GPIO_InitStruct.Pull = GPIO_NOPULL;
	GPIO_InitStruct.Speed = GPIO_SPEED_FREQ_LOW;
	GPIO_InitStruct.Alternate = GPIO_AF11_LCD;
	HAL_GPIO_Init(GPIOB, &GPIO_InitStruct);

}

/* USER CODE BEGIN 4 */
void HAL_UART_RxCpltCallback(UART_HandleTypeDef *huart) {

	HAL_UART_Receive_IT(huart, &num_received, 1); // Re-enable reception after the byte is processed

}
/* USER CODE END 4 */

void Error_Handler(void) {
	__disable_irq();
	while (1) {
	}
}
